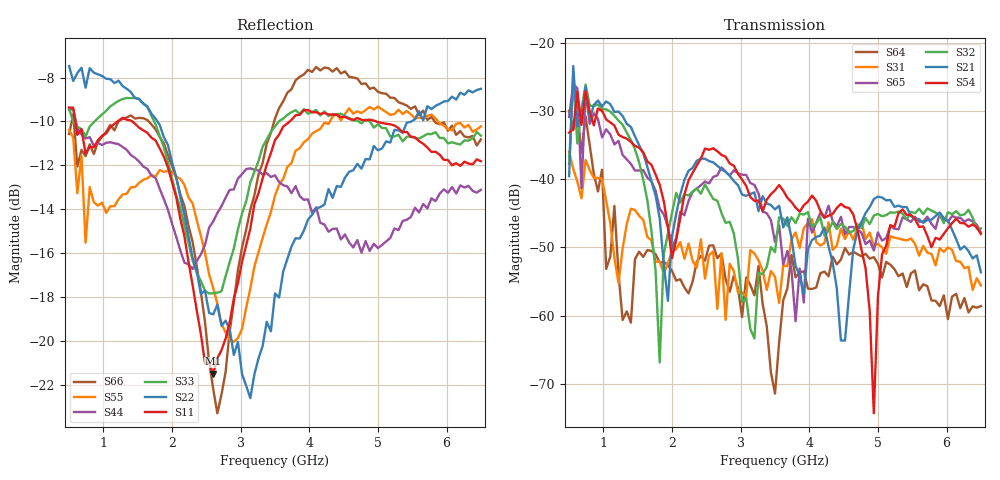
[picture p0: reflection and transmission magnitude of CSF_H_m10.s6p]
!Keysight Technologies,M9804A,MY58100912,A.14.10.03
!Date: Thursday, April 27, 2023 10:28:33
!Correction: S11(C  6-Port  )
!S12(C  6-Port  )
!S13(C  6-Port  )
!S14(C  6-Port  )
!S15(C  6-Port  )
!S16(C  6-Port  )
!S21(C  6-Port  )
!S22(C  6-Port  )
!S23(C  6-Port  )
!S24(C  6-Port  )
!S25(C  6-Port  )
!S26(C  6-Port  )
!S31(C  6-Port  )
!S32(C  6-Port  )
!S33(C  6-Port  )
!S34(C  6-Port  )
!S35(C  6-Port  )
!S36(C  6-Port  )
!S41(C  6-Port  )
!S42(C  6-Port  )
!S43(C  6-Port  )
!S44(C  6-Port  )
!S45(C  6-Port  )
!S46(C  6-Port  )
!S51(C  6-Port  )
!S52(C  6-Port  )
!S53(C  6-Port  )
!S54(C  6-Port  )
!S55(C  6-Port  )
!S56(C  6-Port  )
!S61(C  6-Port  )
!S62(C  6-Port  )
!S63(C  6-Port  )
!S64(C  6-Port  )
!S65(C  6-Port  )
!S66(C  6-Port  )
!S6P File: Measurement: :
# Hz S  RI  R 50
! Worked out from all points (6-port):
!   101 points, 500 MHz to 6.5 GHz, reference 50 ohm
!   strongest paths, dB at 500 MHz, 2 GHz, 3.5 GHz, 5 GHz, 6.5 GHz:
!     S54: -33.1, -51.6, -41.6, -57.2, -48.0
!     S21: -39.5, -48.3, -44.4, -42.5, -53.7
!     S32: -37.7, -44.9, -50.7, -45.1, -47.2
!     S65: -30.8, -50.1, -49.2, -47.8, -47.8
!     S31: -36.0, -50.6, -54.3, -49.5, -55.6
!     S64: -29.9, -53.5, -71.5, -52.4, -58.6
!   lowest |S11| = -21.5 dB at 2.6 GHz (marker M1), VSWR 1.18, Z = 42.5 + j2.1 ohm
!   |S11| at or under -10 dB: 590.4 MHz to 1.207 GHz (616.7 MHz wide, 68.6 % of centre); 1.419 GHz to 3.713 GHz (2.295 GHz wide, 89.4 % of centre); 4.976 GHz to end of sweep
